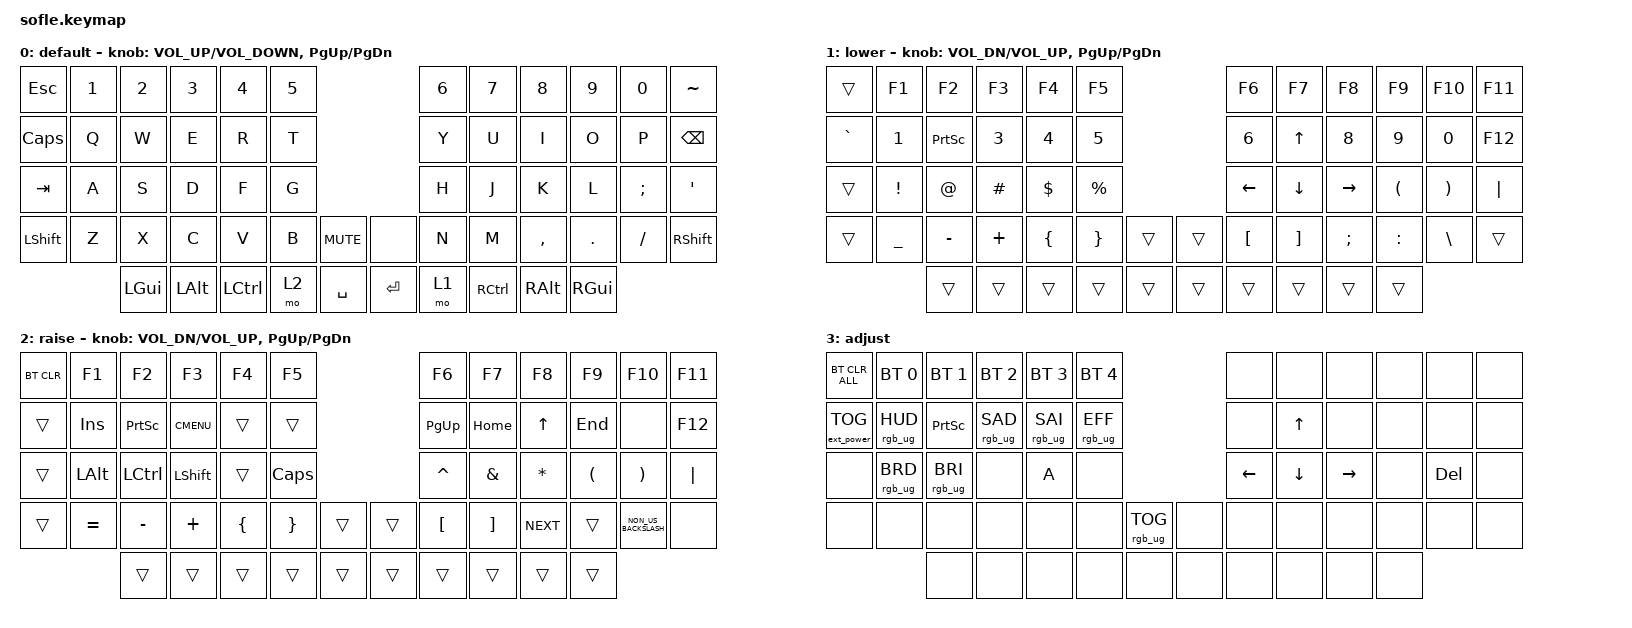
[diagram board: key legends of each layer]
/*
 * Copyright (c) 2020 The ZMK Contributors
 *
 * SPDX-License-Identifier: MIT
 */

#include <behaviors.dtsi>
#include <dt-bindings/zmk/bt.h>
#include <dt-bindings/zmk/ext_power.h>
#include <dt-bindings/zmk/keys.h>
#include <dt-bindings/zmk/rgb.h>

#define BASE 0
#define LOWER 1
#define RAISE 2
#define ADJUST 3

/ {
    // Activate ADJUST layer by pressing raise and lower

    conditional_layers {
        compatible = "zmk,conditional-layers";

        adjust_layer {
            if-layers = <LOWER RAISE>;
            then-layer = <ADJUST>;
        };
    };

    combos { compatible = "zmk,combos"; };

    keymap {
        compatible = "zmk,keymap";

        default_layer {
            display-name = "default";

            // ------------------------------------------------------------------------------------------------------------
            // |   `   |  1  |  2  |  3   |  4   |  5   |                   |  6   |  7    |  8    |  9   |   0   |   =   |
            // |  ESC  |  Q  |  W  |  E   |  R   |  T   |                   |  Y   |  U    |  I    |  O   |   P   |   [   |
            // |  TAB  |  A  |  S  |  D   |  F   |  G   |                   |  H   |  J    |  K    |  L   |   ;   |   ]   |
            // | LCTRL |  Z  |  X  |  C   |  V   |  B   |  MUTE  |  |       |  N   |  M    |  ,    |  .   |   /   |   '   |
            //               | GUI | DEL  |LSHIFT| LOWER|  ENTER |  | SPACE | RAISE|BACKSPC| ALT   | GUI  |

            bindings = <
&kp ESCAPE  &kp N1  &kp N2    &kp N3        &kp N4     &kp N5                         &kp N6  &kp N7             &kp N8         &kp N9      &kp N0     &kp TILDE
&kp CLCK    &kp Q   &kp W     &kp E         &kp R      &kp T                          &kp Y   &kp U              &kp I          &kp O       &kp P      &kp BACKSPACE
&kp TAB     &kp A   &kp S     &kp D         &kp F      &kp G                          &kp H   &kp J              &kp K          &kp L       &kp SEMI   &kp SQT
&kp LSHIFT  &kp Z   &kp X     &kp C         &kp V      &kp B   &kp C_MUTE    &none    &kp N   &kp M              &kp COMMA      &kp PERIOD  &kp SLASH  &kp RIGHT_SHIFT
                    &kp LGUI  &kp LEFT_ALT  &kp LCTRL  &mo 2   &kp SPACE     &kp RET  &mo 1   &kp RIGHT_CONTROL  &kp RIGHT_ALT  &kp RGUI
            >;

            sensor-bindings =
                <&inc_dec_kp K_VOLUME_UP K_VOLUME_DOWN>,
                <&inc_dec_kp PG_UP PG_DN>;
        };

        lower_layer {
            display-name = "lower";

            // TODO: Some binds are waiting for shifted keycode support.
            // ------------------------------------------------------------------------------------------------------------
            // |       |  F1 |  F2 |  F3  |  F4  |  F5  |                   |  F6  |  F7   |  F8   |  F9  |  F10  |  F11  |
            // |   `   |  1  |  2  |  3   |  4   |  5   |                   |  6   |  7    |  8    |  9   |   0   |  F12  |
            // |       |  !  |  @  |  #   |  $   |  %   |                   |  ^   |  &    |  *    |  (   |   )   |   |   |
            // |       |  =  |  -  |  +   |  {   |  }   |        |  |       |  [   |  ]    |  ;    |  :   |   \   |       |
            //               |     |      |      |      |        |  |       |      |       |       |      |

            bindings = <
&trans     &kp F1          &kp F2           &kp F3    &kp F4    &kp F5                       &kp F6    &kp F7    &kp F8     &kp F9     &kp F10   &kp F11
&kp GRAVE  &kp N1          &kp PRINTSCREEN  &kp N3    &kp N4    &kp N5                       &kp N6    &kp UP    &kp N8     &kp N9     &kp N0    &kp F12
&trans     &kp EXCL        &kp AT           &kp HASH  &kp DLLR  &kp PRCNT                    &kp LEFT  &kp DOWN  &kp RIGHT  &kp LPAR   &kp RPAR  &kp PIPE
&trans     &kp UNDERSCORE  &kp MINUS        &kp PLUS  &kp LBRC  &kp RBRC   &trans    &trans  &kp LBKT  &kp RBKT  &kp SEMI   &kp COLON  &kp BSLH  &trans
                           &trans           &trans    &trans    &trans     &trans    &trans  &trans    &trans    &trans     &trans
            >;

            sensor-bindings =
                <&inc_dec_kp C_VOL_DN C_VOL_UP>,
                <&inc_dec_kp PG_UP PG_DN>;
        };

        raise_layer {
            display-name = "raise";

            // ------------------------------------------------------------------------------------------------------------
            // | BTCLR | BT1  | BT2  |  BT3  |  BT4  |  BT5 |                |      |      |       |      |       |       |
            // |       | INS  | PSCR | GUI   |       |      |                | PGUP |      |   ^   |      |       |       |
            // |       | ALT  | CTRL | SHIFT |       | CAPS |                | PGDN |   <- |   v   |  ->  |  DEL  | BKSPC |
            // |       | UNDO | CUT  | COPY  | PASTE |      |      |  |      |      |      |       |      |       |       |
            //                |      |       |       |      |      |  |      |      |      |       |      |

            bindings = <
&bt BT_CLR  &kp F1     &kp F2     &kp F3       &kp F4          &kp F5                             &kp F6            &kp F7             &kp F8        &kp F9                &kp F10                &kp F11
&trans      &kp INS    &kp PSCRN  &kp K_CMENU  &trans          &trans                             &kp PG_UP         &kp HOME           &kp UP        &kp END               &none                  &kp F12
&trans      &kp LALT   &kp LCTRL  &kp LSHFT    &trans          &kp CLCK                           &kp CARET         &kp AMPERSAND      &kp ASTERISK  &kp LEFT_PARENTHESIS  &kp RIGHT_PARENTHESIS  &kp PIPE
&trans      &kp EQUAL  &kp MINUS  &kp PLUS     &kp LEFT_BRACE  &kp RIGHT_BRACE  &trans    &trans  &kp LEFT_BRACKET  &kp RIGHT_BRACKET  &kp C_NEXT    &trans                &kp NON_US_BACKSLASH   &none
                       &trans     &trans       &trans          &trans           &trans    &trans  &trans            &trans             &trans        &trans
            >;

            sensor-bindings =
                <&inc_dec_kp C_VOL_DN C_VOL_UP>,
                <&inc_dec_kp PG_UP PG_DN>;
        };

        adjust_layer {
            // ----------------------------------------------------------------------------------------------------------------------------
            // | BTCLR  |  BT1    |  BT2    |   BT3   |   BT4   |   BT5   |                  |      |      |       |      |       |       |
            // | EXTPWR | RGB_HUD | RGB_HUI | RGB_SAD | RGB_SAI | RGB_EFF |                  |      |      |       |      |       |       |
            // |        | RGB_BRD | RGB_BRI |         |         |         |                  |      |      |       |      |       |       |
            // |        |         |         |         |         |         | RGB_TOG | |      |      |      |       |      |       |       |
            //                    |         |         |         |         |         | |      |      |      |       |      |

            display-name = "adjust";
            bindings = <
&bt BT_CLR_ALL     &bt BT_SEL 0     &bt BT_SEL 1     &bt BT_SEL 2     &bt BT_SEL 3     &bt BT_SEL 4                               &none     &none     &none      &none  &none       &none
&ext_power EP_TOG  &rgb_ug RGB_HUD  &kp PRINTSCREEN  &rgb_ug RGB_SAD  &rgb_ug RGB_SAI  &rgb_ug RGB_EFF                            &none     &kp UP    &none      &none  &none       &none
&none              &rgb_ug RGB_BRD  &rgb_ug RGB_BRI  &none            &kp A            &none                                      &kp LEFT  &kp DOWN  &kp RIGHT  &none  &kp DELETE  &none
&none              &none            &none            &none            &none            &none            &rgb_ug RGB_TOG    &none  &none     &none     &none      &none  &none       &none
                                    &none            &none            &none            &none            &none              &none  &none     &none     &none      &none
            >;
        };
    };
};
